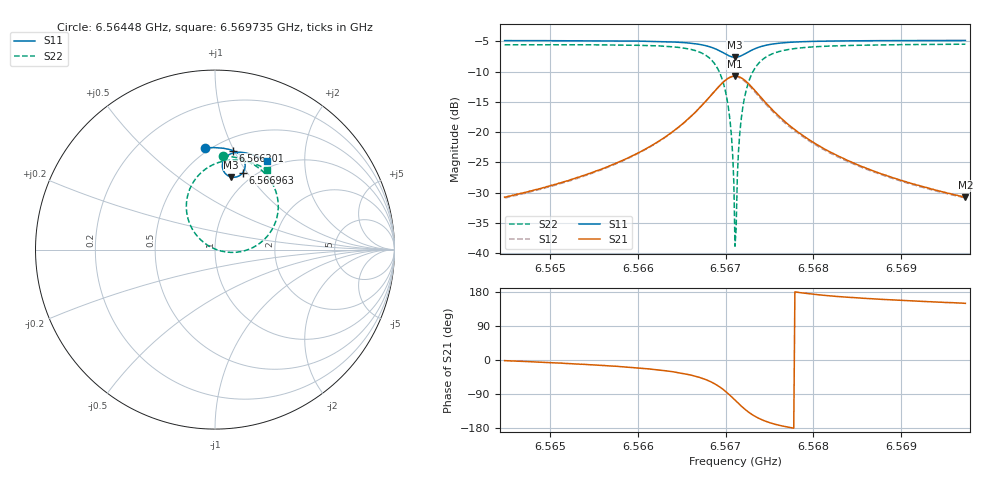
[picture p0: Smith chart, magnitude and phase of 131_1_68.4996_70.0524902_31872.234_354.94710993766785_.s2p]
#  HZ  S  RI  R  50.00
! Rohde & Schwarz Vector Network Analyzer
! Rohde-Schwarz,ZNB20-2Port,1311601062101988,3.16
! Created: UTC 3/20/2024, 5:09:37 PM
! freq[Hz]  re:S11  im:S11  re:S21  im:S21  re:S12  im:S12  re:S22  im:S22
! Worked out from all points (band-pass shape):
!   401 points, 6.56448 GHz to 6.569735 GHz, reference 50 ohm
!   highest |S21| = -10.75 dB at 6.567107 GHz (marker M1); lowest = -30.8 dB at 6.569735 GHz (marker M2)
!   |S21| within 3 dB of the highest: 6.566846 GHz to 6.567371 GHz (525 kHz wide, 0.00799 % of centre)
!   lowest |S11| = -7.6 dB at 6.567107 GHz (marker M3), VSWR 2.42, Z = 41.8 + j40.8 ohm
!   |S11| at or under -10 dB: nowhere
!   |S22| runs from -38.9 to -5.5 dB; largest |S21 - S12| = 0.014
!   S11 on the Smith chart (normalised r, x): 6.56448 GHz: 0.47, +0.79; 6.566201 GHz: 0.61, +0.99; 6.566963 GHz: 0.88, +0.96; 6.569735 GHz: 0.91, +1.32
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6.5644799e9  -0.0534 0.5666  0.029 -0.000822  0.0285 -0.00129  0.0467 0.5238
6.5653601e9  0.0192 0.5675  0.0425 -0.00838  0.0417 -0.00902  0.1314 0.5089
6.5662009e9  0.0989 0.5517  0.0731 -0.0347  0.072 -0.0354  0.245 0.4539
6.5662403e9  0.1032 0.55  0.0755 -0.0373  0.0744 -0.0382  0.2521 0.4484
6.5667396e9  0.1618 0.4979  0.1111 -0.1267  0.1085 -0.1293  0.3505 0.2743
6.5668709e9  0.1677 0.4614  0.1004 -0.1905  0.0955 -0.1941  0.3369 0.1527
6.5669629e9  0.1551 0.4287  0.0615 -0.2464  0.0528 -0.2494  0.2657 0.0484
6.5670023e9  0.1424 0.416  0.0314 -0.2674  0.0209 -0.2689  0.2104 0.0111
6.5670417e9  0.1252 0.4067  -0.0066 -0.2812  -0.0185 -0.2805  0.1408 -0.0118
6.567068e9  0.1119 0.4035  -0.035 -0.2846  -0.0476 -0.2821  0.0893 -0.0155
6.5670943e9  0.0976 0.4034  -0.0646 -0.2824  -0.077 -0.2775  0.0369 -0.00874
6.5671074e9  0.0907 0.4045  -0.0792 -0.2792  -0.0914 -0.2731  0.0113 -0.00115
6.5671206e9  0.0838 0.4064  -0.0933 -0.2743  -0.1052 -0.2673  -0.0134 0.00887
6.5671337e9  0.0773 0.4091  -0.1069 -0.2683  -0.1182 -0.2602  -0.0365 0.0214
6.56716e9  0.0654 0.4164  -0.1317 -0.2525  -0.1413 -0.2427  -0.0776 0.0525
6.5671994e9  0.0518 0.4311  -0.1605 -0.2224  -0.1674 -0.211  -0.1236 0.1091
6.5672388e9  0.0436 0.4479  -0.1789 -0.1888  -0.1827 -0.1771  -0.15 0.1702
6.5673045e9  0.0413 0.475  -0.189 -0.1358  -0.1892 -0.1254  -0.1586 0.2638
6.5675541e9  0.0797 0.5297  -0.1446 -0.0282  -0.1416 -0.0239  -0.0573 0.4452
6.5679876e9  0.1427 0.5422  -0.0827 0.00877  -0.0807 0.0102  0.0817 0.4979
6.5688679e9  0.2262 0.5223  -0.0401 0.0153  -0.0392 0.0157  0.2123 0.481
6.5697349e9  0.2908 0.4912  -0.0249 0.0147  -0.0243 0.0149  0.2899 0.4458
